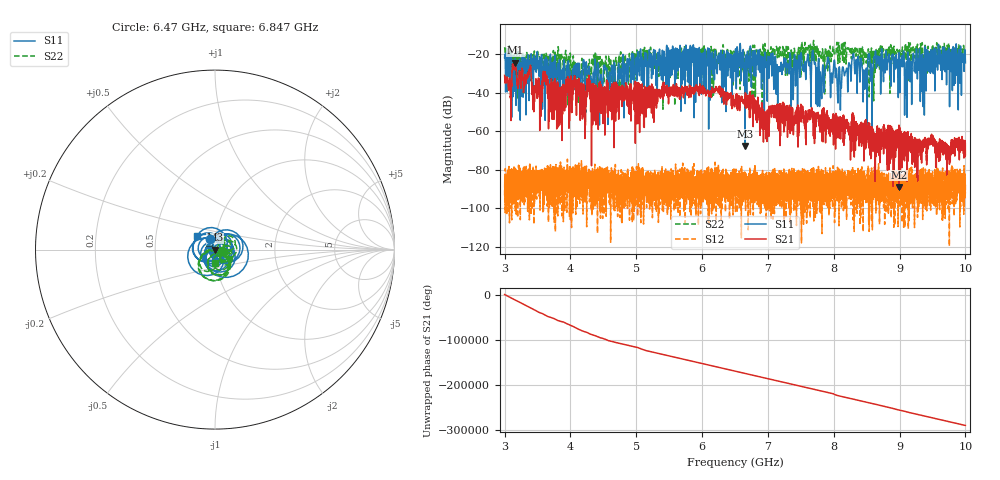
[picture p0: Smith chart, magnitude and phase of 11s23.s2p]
!Agilent Technologies,E8363B,MY43030572,A.06.04.32
!Agilent E8363B: A.06.04.32
!Date: Tuesday, June 07, 2011 09:39:17
!Correction: S11(Full 2 Port(1,2)) S21(Full 2 Port(1,2)) S12(Full 2 Port(1,2)) S22(Full 2 Port(1,2))
!S2P File: Measurements: S11, S21, S12, S22:
# Hz S  dB  R 50
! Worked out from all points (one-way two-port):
!   6401 points, 3 GHz to 10 GHz, reference 50 ohm
!   highest |S21| = -24.28 dB at 3.161 GHz (marker M1); lowest = -88.8 dB at 8.987 GHz (marker M2)
!   lowest |S11| = -67.6 dB at 6.654 GHz (marker M3), VSWR 1.00, Z = 50 + j0.0202 ohm
!   |S11| at or under -10 dB: start of sweep to end of sweep
!   |S22| runs from -51.0 to -12.8 dB; largest |S21 - S12| = 0.061
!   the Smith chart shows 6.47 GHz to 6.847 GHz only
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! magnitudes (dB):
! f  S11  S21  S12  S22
! 3 GHz  -21.7  -30.9  -93.3  -16.2
! 3.161 GHz  -22.0  -24.3  -85.8  -20.1
! 3.46 GHz  -27.9  -37.1  -89.2  -22.8
! 3.614 GHz  -32.3  -29.1  -92.7  -21.6
! 3.836 GHz  -23.4  -49.0  -81.8  -20.5
! 4.167 GHz  -28.7  -34.9  -75.3  -24.0
! 4.397 GHz  -34.4  -40.6  -83.6  -24.9
! 4.466 GHz  -30.6  -50.5  -98.4  -27.7
! 4.528 GHz  -26.8  -38.8  -89.4  -25.6
! 4.586 GHz  -31.4  -41.2  -84.8  -20.8
! 5.334 GHz  -19.8  -38.9  -81.2  -25.3
! 6.5 GHz  -23.0  -46.0  -86.5  -24.1
! 6.654 GHz  -67.6  -44.7  -93.1  -25.8
! 6.96 GHz  -19.0  -53.1  -82.2  -16.6
! 7.667 GHz  -21.5  -52.3  -79.4  -16.7
! 8.086 GHz  -26.6  -56.9  -85.4  -19.7
! 8.308 GHz  -22.0  -53.2  -83.4  -18.3
! 8.476 GHz  -32.3  -57.0  -94.8  -20.2
! 8.635 GHz  -18.3  -61.3  -86.0  -19.4
! 8.834 GHz  -20.2  -59.9  -93.9  -20.7
! 8.987 GHz  -22.0  -88.8  -93.4  -19.4
! 10 GHz  -24.4  -72.2  -86.7  -21.0
